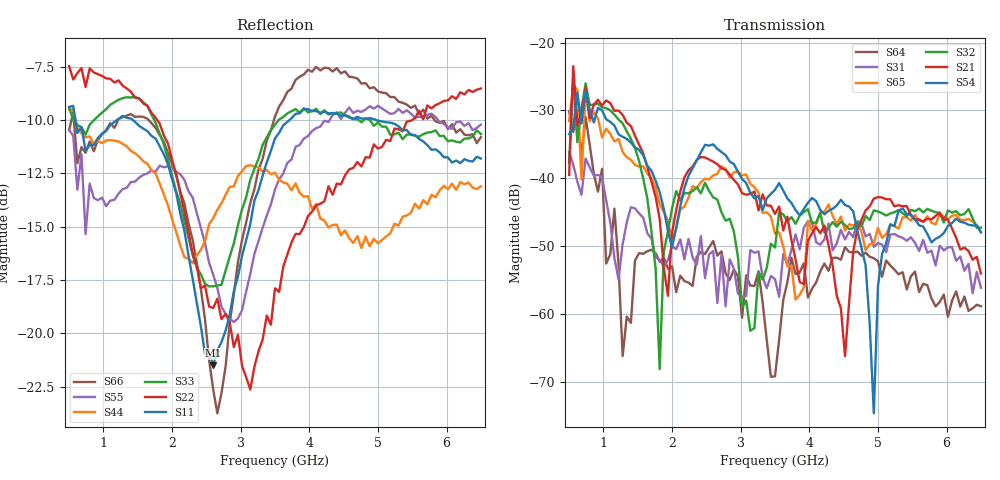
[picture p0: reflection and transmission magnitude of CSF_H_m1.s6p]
!Keysight Technologies,M9804A,MY58100912,A.14.10.03
!Date: Thursday, April 27, 2023 10:28:33
!Correction: S11(C  6-Port  )
!S12(C  6-Port  )
!S13(C  6-Port  )
!S14(C  6-Port  )
!S15(C  6-Port  )
!S16(C  6-Port  )
!S21(C  6-Port  )
!S22(C  6-Port  )
!S23(C  6-Port  )
!S24(C  6-Port  )
!S25(C  6-Port  )
!S26(C  6-Port  )
!S31(C  6-Port  )
!S32(C  6-Port  )
!S33(C  6-Port  )
!S34(C  6-Port  )
!S35(C  6-Port  )
!S36(C  6-Port  )
!S41(C  6-Port  )
!S42(C  6-Port  )
!S43(C  6-Port  )
!S44(C  6-Port  )
!S45(C  6-Port  )
!S46(C  6-Port  )
!S51(C  6-Port  )
!S52(C  6-Port  )
!S53(C  6-Port  )
!S54(C  6-Port  )
!S55(C  6-Port  )
!S56(C  6-Port  )
!S61(C  6-Port  )
!S62(C  6-Port  )
!S63(C  6-Port  )
!S64(C  6-Port  )
!S65(C  6-Port  )
!S66(C  6-Port  )
!S6P File: Measurement: :
# Hz S  RI  R 50
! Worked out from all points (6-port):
!   101 points, 500 MHz to 6.5 GHz, reference 50 ohm
!   strongest paths, dB at 500 MHz, 2 GHz, 3.5 GHz, 5 GHz, 6.5 GHz:
!     S54: -33.5, -50.2, -41.7, -55.9, -47.9
!     S21: -39.5, -48.0, -45.2, -42.8, -54.0
!     S32: -37.8, -44.4, -50.2, -44.9, -47.3
!     S65: -31.6, -49.4, -48.1, -47.3, -48.0
!     S31: -36.1, -50.0, -54.9, -49.6, -56.1
!     S64: -30.1, -53.0, -69.2, -52.2, -58.8
!   lowest |S11| = -21.5 dB at 2.6 GHz (marker M1), VSWR 1.18, Z = 42.5 + j2.15 ohm
!   |S11| at or under -10 dB: 591.4 MHz to 1.196 GHz (604.2 MHz wide, 67.6 % of centre); 1.428 GHz to 3.711 GHz (2.282 GHz wide, 88.8 % of centre); 4.976 GHz to end of sweep
